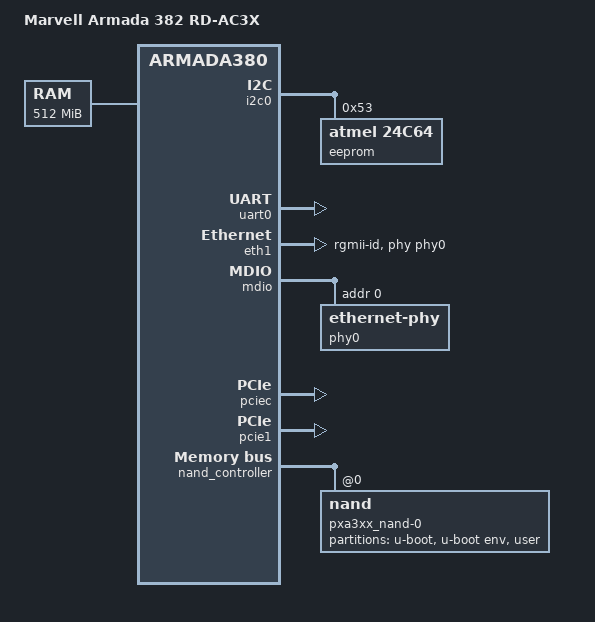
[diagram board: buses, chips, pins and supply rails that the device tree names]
// SPDX-License-Identifier: (GPL-2.0 OR MIT)
/*
 * Device Tree file for Marvell Armada 382 reference board
 * (RD-AC3X-48G4X2XL)
 *
 * Copyright (C) 2020 Allied Telesis Labs
 */

/dts-v1/;
#include "armada-385.dtsi"

#include <dt-bindings/gpio/gpio.h>

/ {
	model = "Marvell Armada 382 RD-AC3X";
	compatible = "marvell,rd-ac3x-48g4x2xl", "marvell,rd-ac3x",
			 "marvell,armada385", "marvell,armada380";

	chosen {
		stdout-path = "serial0:115200n8";
	};

	aliases {
		ethernet0 = &eth1;
	};

	memory {
		device_type = "memory";
		reg = <0x00000000 0x20000000>; /* 512MB */
	};

	soc {
		ranges = <MBUS_ID(0xf0, 0x01) 0 0xf1000000 0x100000
			  MBUS_ID(0x01, 0x1d) 0 0xfff00000 0x100000>;
	};
};

&i2c0 {
	pinctrl-names = "default";
	pinctrl-0 = <&i2c0_pins>;
	status = "okay";

	eeprom@53{
		compatible = "atmel,24c64";
		reg = <0x53>;
	};

	/* CPLD device present at 0x3c. Function unknown */
};

&uart0 {
	pinctrl-names = "default";
	pinctrl-0 = <&uart0_pins>;
	status = "okay";
};

&eth1 {
	status = "okay";
	phy = <&phy0>;
	phy-mode = "rgmii-id";
};

&mdio {
	pinctrl-names = "default";
	pinctrl-0 = <&mdio_pins>;

	phy0: ethernet-phy@0 {
		reg = <0>;
	};
};

&pciec {
	status = "okay";
};

&pcie1 {
	/* Port 0, Lane 0 */
	status = "okay";
};

&nand_controller {
	status = "okay";

	nand@0 {
		reg = <0>;
		label = "pxa3xx_nand-0";
		nand-rb = <0>;
		nand-on-flash-bbt;

		partitions {
			compatible = "fixed-partitions";
			#address-cells = <1>;
			#size-cells = <1>;
			partition@0 {
				reg = <0x00000000 0x00500000>;
				label = "u-boot";
			};
			partition@500000{
				reg = <0x00500000 0x00400000>;
				label = "u-boot env";
			};
			partition@900000{
				reg = <0x00900000 0x3F700000>;
				label = "user";
			};
		};
	};
};

&refclk {
	clock-frequency = <200000000>;
};
